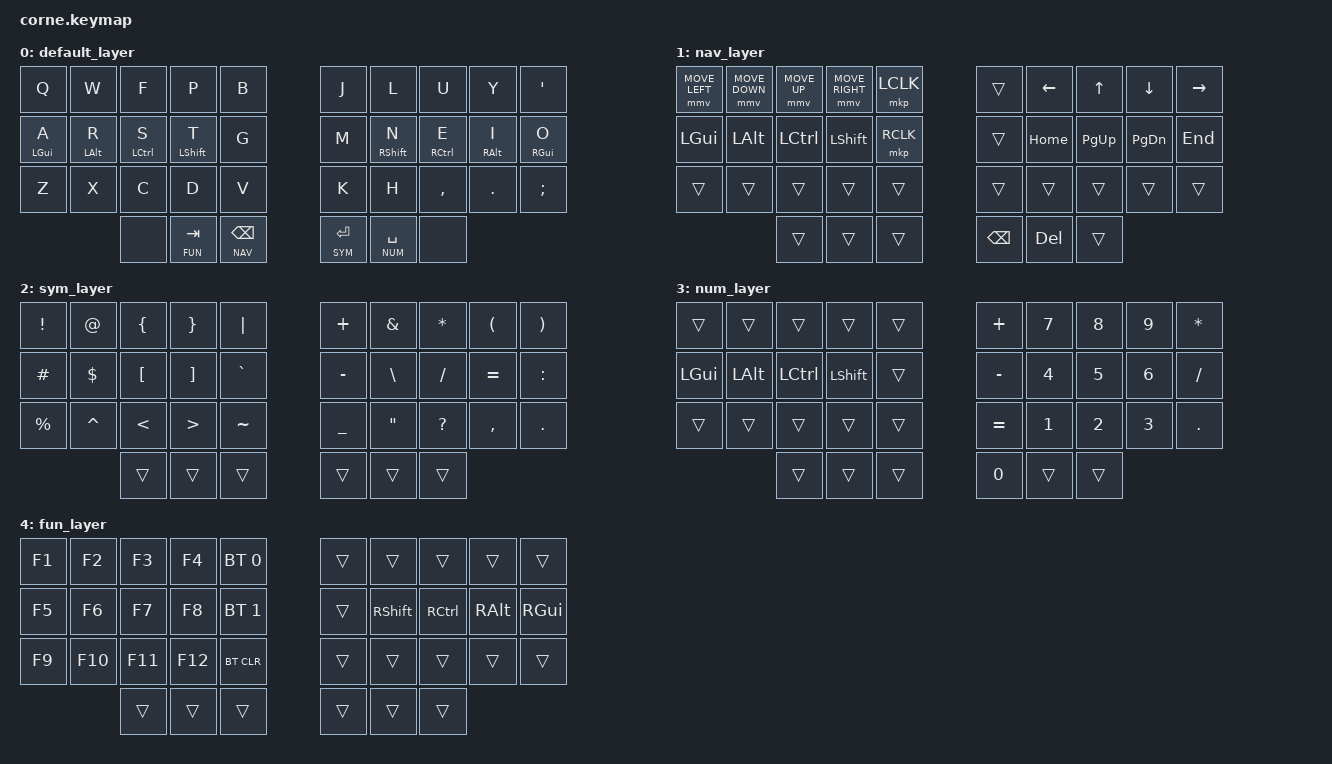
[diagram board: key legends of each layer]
/* customkeymap.com
 * Matrix key positions for 36-key split keyboard (3x5 + 3 thumbs) for Chocofi/Corne
 *
 *       Left Hand                          Right Hand
 * ┌────┬────┬────┬────┬────┐        ┌────┬────┬────┬────┬────┐
 * │ 00 │ 01 │ 02 │ 03 │ 04 │        │ 05 │ 06 │ 07 │ 08 │ 09 │  <- Top Row
 * ├────┼────┼────┼────┼────┤        ├────┼────┼────┼────┼────┤
 * │ 10 │ 11 │ 12 │ 13 │ 14 │        │ 15 │ 16 │ 17 │ 18 │ 19 │  <- Home Row
 * ├────┼────┼────┼────┼────┤        ├────┼────┼────┼────┼────┤
 * │ 20 │ 21 │ 22 │ 23 │ 24 │        │ 25 │ 26 │ 27 │ 28 │ 29 │  <- Bottom Row
 * └────┴────┴────┴────┴────┘        └────┴────┴────┴────┴────┘
 *           ┌────┬────┬────┐        ┌────┬────┬────┐
 *           │ 30 │ 31 │ 32 │        │ 33 │ 34 │ 35 │            <- Thumb Cluster
 *           └────┴────┴────┘        └────┴────┴────┘
 */

#include <behaviors.dtsi>               // Key behavior rules in ZMK (types of key presses)
#include <dt-bindings/zmk/keys.h>       // All standard keyboard keys
#include <dt-bindings/zmk/bt.h>         // Bluetooth management commands
#include <dt-bindings/zmk/pointing.h>   // Mouse pointer and cursor emulation

// Layer definitions
#define DEF 0
#define NAV 1
#define SYM 2
#define NUM 3
#define FUN 4

/ {
    // Sets layout to 36 keys (5 columns per side)
    chosen {
        zmk,matrix_transform = &five_column_transform;
    };

    // COMBOS
    combos {
        compatible = "zmk,combos";

        // ESC Combo: Pressing K + H (positions 25 and 26)
        combo_esc {
            timeout-ms = <45>;
            key-positions = <25 26>;
            bindings = <&kp ESC>;
            require-prior-idle-ms = <125>;
            layers = <DEF>;
        };

        // CAPS LOCK: Pressing D + V (positions 23 and 24)
        combo_caps {
            timeout-ms = <45>;
            key-positions = <23 24>;
            bindings = <&kp CAPS>;
            require-prior-idle-ms = <125>;
            layers = <DEF>;
        };
    };

    // CUSTOM BEHAVIORS
    behaviors {
        hm: home_row_mods {
            compatible = "zmk,behavior-hold-tap";
            label = "HOME_ROW_MODS";
            #binding-cells = <2>;
            tapping-term-ms = <160>;
            quick-tap-ms = <175>;
            flavor = "balanced";
            require-prior-idle-ms = <150>;
            bindings = <&kp>, <&kp>;
        };

        lt_p: layer_tap_thumb {
            compatible = "zmk,behavior-hold-tap";
            label = "LAYER_TAP_THUMB";
            #binding-cells = <2>;
            tapping-term-ms = <200>;
            quick-tap-ms = <175>;
            flavor = "tap-preferred";
            bindings = <&mo>, <&kp>;
        };
    };

    keymap {
        compatible = "zmk,keymap";

        // LAYER 0: DEFAULT (Colemak-DH)
        default_layer {
            bindings = <
                &kp Q        &kp W         &kp F          &kp P         &kp B            &kp J           &kp L           &kp U        &kp Y        &kp SQT
                &hm LGUI A   &hm LALT R    &hm LCTRL S    &hm LSHFT T   &kp G            &kp M           &hm RSHFT N     &hm RCTRL E  &hm RALT I   &hm RGUI O
                &kp Z        &kp X         &kp C          &kp D         &kp V            &kp K           &kp H           &kp COMMA    &kp DOT      &kp SEMI
                                           &none          &lt_p FUN TAB &lt_p NAV BSPC   &lt_p SYM ENTER &lt_p NUM SPACE &none
            >;
        };

        // LAYER 1: NAVIGATION (NAV)
        nav_layer {
            bindings = <
                &mmv MOVE_LEFT  &mmv MOVE_DOWN  &mmv MOVE_UP  &mmv MOVE_RIGHT  &mkp LCLK     &trans    &kp LEFT  &kp UP    &kp DOWN   &kp RIGHT
                &kp LGUI        &kp LALT        &kp LCTRL     &kp LSHFT        &mkp RCLK     &trans    &kp HOME  &kp PG_UP &kp PG_DN  &kp END
                &trans          &trans          &trans        &trans           &trans        &trans    &trans    &trans    &trans     &trans
                                                &trans        &trans           &trans        &kp BSPC  &kp DEL   &trans
            >;
        };

        // LAYER 2: SYMBOLS (SYM)
        sym_layer {
            bindings = <
                &kp EXCL     &kp AT        &kp LBRC       &kp RBRC      &kp PIPE         &kp PLUS        &kp AMPS        &kp ASTRK    &kp LPAR     &kp RPAR
                &kp HASH     &kp DLLR      &kp LBKT       &kp RBKT      &kp GRAVE        &kp MINUS       &kp BSLH        &kp FSLH     &kp EQUAL    &kp COLON
                &kp PRCNT    &kp CARET     &kp LT         &kp GT        &kp TILDE        &kp UNDER       &kp DQT         &kp QMARK    &kp COMMA    &kp DOT
                                           &trans         &trans        &trans           &trans          &trans          &trans
            >;
        };

        // LAYER 3: NUMPAD (NUM)
        num_layer {
            bindings = <
                &trans       &trans        &trans         &trans        &trans           &kp PLUS        &kp N7          &kp N8       &kp N9       &kp ASTRK
                &kp LGUI     &kp LALT      &kp LCTRL      &kp LSHFT     &trans           &kp MINUS       &kp N4          &kp N5       &kp N6       &kp FSLH
                &trans       &trans        &trans         &trans        &trans           &kp EQUAL       &kp N1          &kp N2       &kp N3       &kp DOT
                                           &trans         &trans        &trans           &kp N0          &trans          &trans
            >;
        };

        // LAYER 4: FUNCTION KEYS (FUN)
        fun_layer {
            bindings = <
                &kp F1       &kp F2        &kp F3         &kp F4        &bt BT_SEL 0     &trans          &trans          &trans       &trans       &trans
                &kp F5       &kp F6        &kp F7         &kp F8        &bt BT_SEL 1     &trans          &kp RSHFT       &kp RCTRL    &kp RALT     &kp RGUI
                &kp F9       &kp F10       &kp F11        &kp F12       &bt BT_CLR       &trans          &trans          &trans       &trans       &trans
                                           &trans         &trans        &trans           &trans          &trans          &trans
            >;
        };
    };
};
